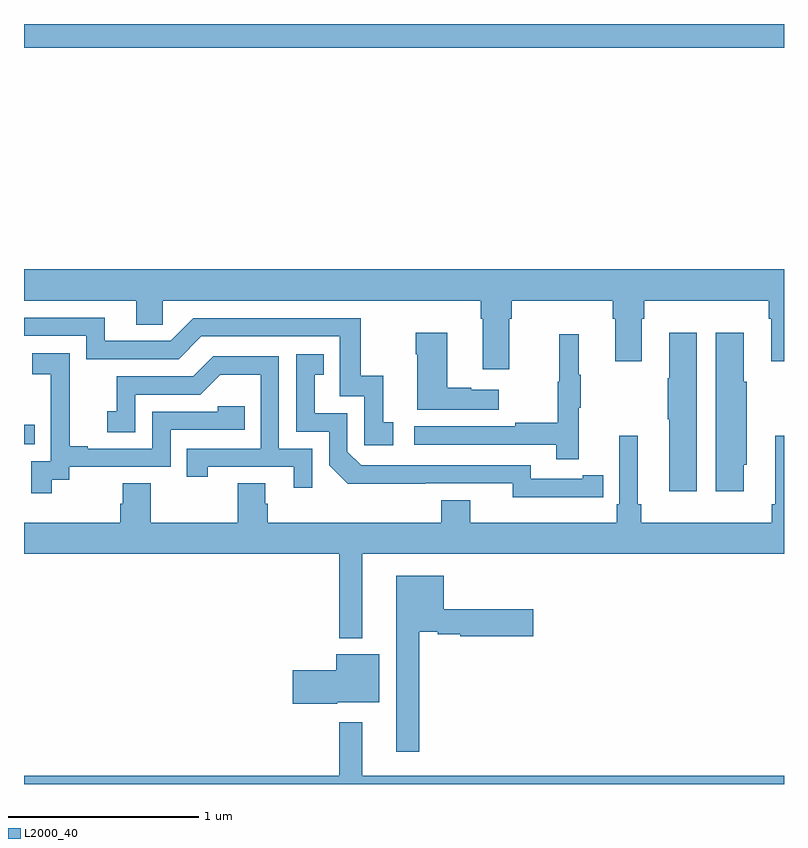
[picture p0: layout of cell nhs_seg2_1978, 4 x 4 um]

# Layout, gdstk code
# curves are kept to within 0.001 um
import gdstk
lib = gdstk.Library(unit=1e-6, precision=1e-09)
def R(c, l, rs):  # rectangles x0, y0, x1, y1
    for r in rs: c.add(gdstk.rectangle(r[:2], r[2:], *l))
def P(c, l, *ps):  # polygons
    for p in ps: c.add(gdstk.Polygon(p, *l))
L2000_40 = (2000, 40)

nhs_seg2_1978 = lib.new_cell('nhs_seg2_1978')
R(nhs_seg2_1978, L2000_40, [(215,605.589,215.057,605.69), (215,607.676,219,607.8)])
P(nhs_seg2_1978, L2000_40, [(215,606.344),(215.591,606.344),(215.591,606.217),(215.73,606.217),(215.73,606.344),(217.403,606.344),(217.403,606.248),(217.415,606.248),(217.415,605.982),(217.555,605.982),(217.555,606.248),(217.568,606.248),(217.568,606.344),(218.099,606.344),(218.099,606.248),(218.111,606.248),(218.111,606.024),(218.251,606.024),(218.251,606.248),(218.264,606.248),(218.264,606.344),(218.921,606.344),(218.921,606.248),(218.933,606.248),(218.933,606.024),(219,606.024),(219,606.508),(215,606.508)],
  [(216.943,605.703),(216.89,605.703),(216.89,605.95),(216.772,605.95),(216.772,606.252),(215.892,606.252),(215.772,606.132),(215.425,606.132),(215.425,606.255),(215,606.255),(215,606.159),(215.328,606.159),(215.328,606.036),(215.814,606.036),(215.934,606.156),(216.663,606.156),(216.663,605.841),(216.792,605.841),(216.792,605.583),(216.943,605.583)],
  [(218.542,606.175),(218.396,606.175),(218.396,605.936),(218.389,605.936),(218.389,605.719),(218.396,605.719),(218.396,605.34),(218.542,605.34)],
  [(218.788,605.481),(218.803,605.481),(218.803,605.917),(218.788,605.917),(218.788,606.175),(218.642,606.175),(218.642,605.34),(218.788,605.34)],
  [(217.498,605.875),(217.355,605.875),(217.355,605.885),(217.228,605.885),(217.228,606.175),(217.063,606.175),(217.063,606.062),(217.07,606.062),(217.07,605.771),(217.498,605.771)],
  [(217.919,605.779),(217.93,605.779),(217.93,605.953),(217.919,605.953),(217.919,606.166),(217.816,606.166),(217.816,605.916),(217.809,605.916),(217.809,605.702),(217.585,605.702),(217.585,605.682),(217.053,605.682),(217.053,605.586),(217.801,605.586),(217.801,605.508),(217.919,605.508)],
  [(215.146,605.401),(215.238,605.401),(215.238,605.469),(215.772,605.469),(215.772,605.664),(216.161,605.664),(216.161,605.787),(216.021,605.787),(216.021,605.76),(215.676,605.76),(215.676,605.565),(215.335,605.565),(215.335,605.578),(215.24,605.578),(215.24,605.861),(215.241,605.861),(215.241,606.067),(215.043,606.067),(215.043,605.957),(215.141,605.957),(215.141,605.729),(215.142,605.729),(215.142,605.499),(215.037,605.499),(215.037,605.331),(215.146,605.331)],
  [(217.94,605.31),(218.048,605.31),(218.048,605.426),(217.94,605.426),(217.94,605.406),(217.668,605.406),(217.668,605.478),(216.774,605.478),(216.702,605.55),(216.702,605.751),(216.529,605.751),(216.529,605.955),(216.578,605.955),(216.578,606.061),(216.432,606.061),(216.432,605.655),(216.606,605.655),(216.606,605.478),(216.704,605.381),(217.572,605.382),(217.572,605.309)],
  [(216.516,605.565),(216.342,605.565),(216.342,606.051),(215.996,606.051),(215.891,605.946),(215.488,605.946),(215.488,605.761),(215.439,605.761),(215.439,605.652),(215.586,605.652),(215.586,605.85),(215.928,605.85),(216.032,605.954),(216.246,605.954),(216.246,605.565),(215.857,605.565),(215.857,605.418),(215.968,605.418),(215.968,605.469),(216.419,605.469),(216.419,605.358),(216.516,605.358)],
  [(219,605.632),(218.954,605.632),(218.954,605.272),(218.935,605.272),(218.935,605.176),(218.249,605.176),(218.249,605.272),(218.23,605.272),(218.23,605.632),(218.133,605.632),(218.133,605.272),(218.12,605.272),(218.12,605.176),(217.348,605.176),(217.348,605.293),(217.196,605.293),(217.196,605.176),(216.284,605.176),(216.284,605.274),(216.271,605.274),(216.271,605.384),(216.124,605.384),(216.124,605.176),(215.667,605.176),(215.667,605.384),(215.519,605.384),(215.519,605.274),(215.507,605.274),(215.507,605.176),(215,605.176),(215,605.012),(216.66,605.012),(216.66,604.568),(216.781,604.568),(216.781,605.012),(219,605.012)],
  [(217.081,604.601),(217.178,604.601),(217.178,604.589),(217.296,604.589),(217.296,604.577),(217.681,604.577),(217.681,604.719),(217.21,604.719),(217.21,604.897),(216.959,604.897),(216.959,603.969),(217.081,603.969)],
  [(216.648,604.229),(216.871,604.229),(216.871,604.483),(216.644,604.483),(216.644,604.4),(216.414,604.4),(216.414,604.222),(216.648,604.222)],
  [(219,603.844),(216.781,603.844),(216.781,604.126),(216.66,604.126),(216.66,603.844),(215,603.844),(215,603.8),(219,603.8)])

lib.write_gds('nhs_seg2_1978.gds')
